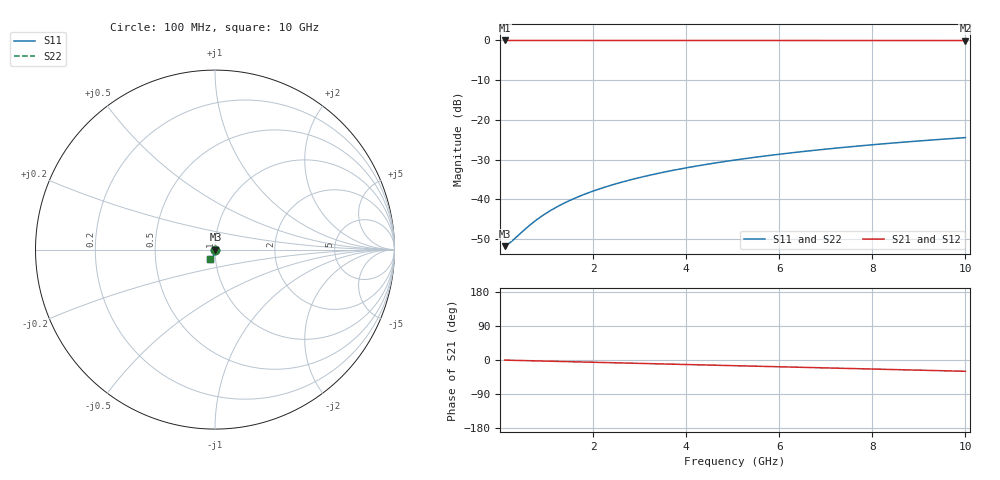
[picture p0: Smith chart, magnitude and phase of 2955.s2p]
# Hz S RI R 50.00
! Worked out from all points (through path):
!   100 points, 100 MHz to 10 GHz, reference 50 ohm
!   highest |S21| = -0.02 dB at 100 MHz (marker M1); lowest = 0.0 dB at 10 GHz (marker M2)
!   group delay of S21, straight-line fit = 8.28 ps
!   lowest |S11| = -51.8 dB at 100 MHz (marker M3), VSWR 1.01, Z = 50.2 - j0.0637 ohm
!   |S11| at or under -10 dB: start of sweep to end of sweep
!   |S22| runs from -51.8 to -24.5 dB; largest |S21 - S12| = 0
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1e8  0.00249 -0.000634  0.9975 -0.00518  0.9975 -0.00518  0.00249 -0.000634
2e8  0.00249 -0.00127  0.9974 -0.0104  0.9974 -0.0104  0.00249 -0.00127
3e8  0.00248 -0.0019  0.9973 -0.0155  0.9973 -0.0155  0.00248 -0.0019
6e8  0.00241 -0.0038  0.9969 -0.0311  0.9969 -0.0311  0.00241 -0.0038
7e8  0.00238 -0.00443  0.9968 -0.0363  0.9968 -0.0363  0.00238 -0.00443
8e8  0.00233 -0.00507  0.9965 -0.0414  0.9965 -0.0414  0.00233 -0.00507
1e9  0.00222 -0.00633  0.996 -0.0518  0.996 -0.0518  0.00222 -0.00633
1.2e9  0.00208 -0.00759  0.9954 -0.0621  0.9954 -0.0621  0.00208 -0.00759
1.4e9  0.00192 -0.00885  0.9947 -0.0725  0.9947 -0.0725  0.00192 -0.00885
1.6e9  0.00172 -0.0101  0.9939 -0.0828  0.9939 -0.0828  0.00172 -0.0101
1.8e9  0.00151 -0.0114  0.9929 -0.0931  0.9929 -0.0931  0.00151 -0.0114
2.1e9  0.00113 -0.0132  0.9913 -0.1086  0.9913 -0.1086  0.00113 -0.0132
2.5e9  0.000537 -0.0157  0.9888 -0.1292  0.9888 -0.1292  0.000537 -0.0157
2.9e9  -0.000158 -0.0181  0.9858 -0.1497  0.9858 -0.1497  -0.000158 -0.0181
3.4e9  -0.00117 -0.0211  0.9815 -0.1752  0.9815 -0.1752  -0.00117 -0.0211
4.2e9  -0.00311 -0.0258  0.9732 -0.2159  0.9732 -0.2159  -0.00311 -0.0258
5.1e9  -0.00574 -0.0309  0.9618 -0.2611  0.9618 -0.2611  -0.00574 -0.0309
5.9e9  -0.00848 -0.0352  0.9499 -0.3008  0.9499 -0.3008  -0.00848 -0.0352
6.7e9  -0.0116 -0.0393  0.9364 -0.34  0.9364 -0.34  -0.0116 -0.0393
7.5e9  -0.015 -0.0431  0.9212 -0.3786  0.9212 -0.3786  -0.015 -0.0431
8.4e9  -0.0192 -0.047  0.9021 -0.4212  0.9021 -0.4212  -0.0192 -0.047
1e10  -0.0274 -0.053  0.8634 -0.4945  0.8634 -0.4945  -0.0274 -0.053
